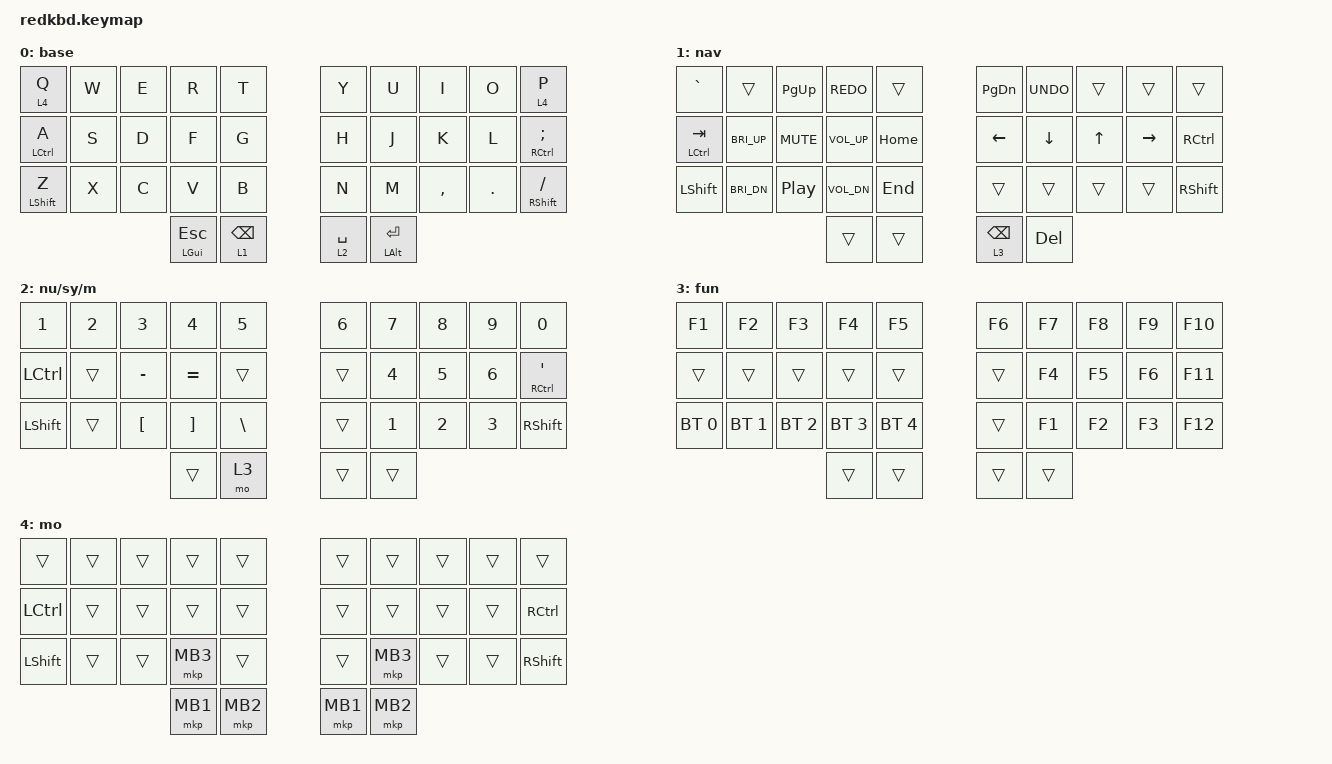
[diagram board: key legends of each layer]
#include <behaviors.dtsi>
#include <dt-bindings/zmk/bt.h>
#include <dt-bindings/zmk/keys.h>
#include <dt-bindings/zmk/pointing.h>

/ {
    keymap {
        compatible = "zmk,keymap";

        default_layer {
            display-name = "base";

            // -----------------------------------------------------------------------------------------------------------------------------------
            // |     Q      |     W      |     E      |     R      |     T      |     Y      |     U      |     I      |     O      |     P      |
            // |     A      |     S      |     D      |     F      |     G      |     H      |     J      |     K      |     L      |     ;      |
            // |     Z      |     X      |     C      |     V      |     B      |     N      |     M      |     ,      |     .      |     /      |
            //                                        |    ESC     |    BSPC    |    SPC     |    RET     |
            bindings = <
                &lt 4 Q      &kp W        &kp E        &kp R        &kp T        &kp Y        &kp U        &kp I        &kp O        &lt 4 P
                &mt LCTL A   &kp S        &kp D        &kp F        &kp G        &kp H        &kp J        &kp K        &kp L        &mt RCTL SEMI
                &mt LSHFT Z  &kp X        &kp C        &kp V        &kp B        &kp N        &kp M        &kp COMMA    &kp DOT      &mt RSHFT FSLH
                                                       &mt LGUI ESC &lt 1 BSPC   &lt 2 SPC    &mt LALT RET
            >;
        };

        nav_layer {
            display-name = "nav";

            // -----------------------------------------------------------------------------------------------------------------------------------
            // |     `      |            |    PGUP    |    REDO    |            |    PGDN    |    UNDO    |            |            |            |
            // |    TAB     |    BRI+    |    MUTE    |    VOL+    |    HOME    |    LEFT    |    DOWN    |     UP     |   RIGHT    |    CTRL    |
            // |    SHFT    |    BRI-    |   PL/PA    |    VOL-    |    END     |            |            |            |            |    SHFT    |
            //                                        |            |     ▼      |    BSPC    |    DEL     |
            bindings = <
                &kp GRAVE    &trans       &kp PG_UP    &kp K_REDO   &trans       &kp PG_DN    &kp K_UNDO   &trans       &trans       &trans
                &mt LCTL TAB &kp C_BRI_UP &kp C_MUTE   &kp C_VOL_UP &kp HOME     &kp LEFT     &kp DOWN     &kp UP       &kp RIGHT    &kp RCTL
                &kp LSHFT    &kp C_BRI_DN &kp C_PP     &kp C_VOL_DN &kp END      &trans       &trans       &trans       &trans       &kp RSHFT
                                                       &trans       &trans       &lt 3 BSPC   &kp DEL
            >;
        };

        nusym_layer {
            display-name = "nu/sy/m";

            // -----------------------------------------------------------------------------------------------------------------------------------
            // |     1      |     2      |     3      |     4      |     5      |     6      |     7      |     8      |     9      |     0      |
            // |    CTRL    |            |     -      |     =      |            |            |     4      |     5      |     6      |     '      |
            // |    SHFT    |            |     [      |     ]      |     \      |            |     1      |     2      |     3      |    SHFT    |
            //                                        |            |            |     ▼      |            |
            bindings = <
                &kp N1       &kp N2       &kp N3       &kp N4       &kp N5       &kp N6       &kp N7       &kp N8       &kp N9       &kp N0
                &kp LCTL     &trans       &kp MINUS    &kp EQUAL    &trans       &trans       &kp N4       &kp N5       &kp N6       &mt RCTL APOS
                &kp LSHFT    &trans       &kp LBKT     &kp RBKT     &kp BSLH     &trans       &kp N1       &kp N2       &kp N3       &kp RSHFT
                                                       &trans       &mo 3        &trans       &trans
            >;
        };

        fun_layer {
            display-name = "fun";

            // -----------------------------------------------------------------------------------------------------------------------------------
            // |     F1     |     F2     |     F3     |     F4     |     F5     |     F6     |     F7     |     F8     |     F9     |     F10    |
            // |            |            |            |            |            |            |     F4     |     F5     |     F6     |     F11    |
            // |    BT1     |    BT2     |    BT3     |    BT4     |    BT5     |            |     F1     |     F2     |     F3     |     F12    |
            //                                        |            |     ▼      |     ▼      |            |
            bindings = <
                &kp F1       &kp F2       &kp F3       &kp F4       &kp F5       &kp F6       &kp F7       &kp F8       &kp F9       &kp F10
                &trans       &trans       &trans       &trans       &trans       &trans       &kp F4       &kp F5       &kp F6       &kp F11
                &bt BT_SEL 0 &bt BT_SEL 1 &bt BT_SEL 2 &bt BT_SEL 3 &bt BT_SEL 4 &trans       &kp F1       &kp F2       &kp F3       &kp F12
                                                       &trans       &trans       &trans       &trans
            >;
        };

        mo_layer {
            display-name = "mo";

            // -----------------------------------------------------------------------------------------------------------------------------------
            // |     ▼      |            |            |            |            |            |            |            |            |     ▼      |
            // |    CTRL    |            |            |            |            |            |            |            |            |    CTRL    |
            // |    SHFT    |            |            |   MIDDLE   |            |            |   MIDDLE   |            |            |    SHFT    |
            //                                        |    LEFT    |   RIGHT    |    LEFT    |   RIGHT    |
            bindings = <
                &trans       &trans       &trans       &trans       &trans       &trans       &trans       &trans       &trans       &trans
                &kp LCTL     &trans       &trans       &trans       &trans       &trans       &trans       &trans       &trans       &kp RCTL
                &kp LSHFT    &trans       &trans       &mkp MB3     &trans       &trans       &mkp MB3     &trans       &trans       &kp RSHFT
                                                       &mkp MB1     &mkp MB2     &mkp MB1     &mkp MB2
            >;
        };
    };
 };
